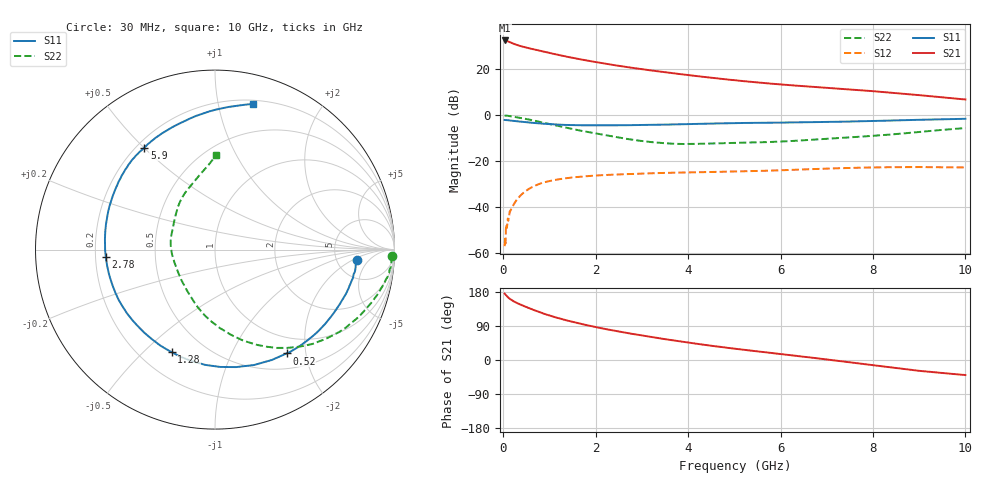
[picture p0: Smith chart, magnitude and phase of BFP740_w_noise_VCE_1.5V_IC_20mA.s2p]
! Infineon Technologies  Discrete & RF Semiconductors
! BFP740
! VCE =  1.5 V,  IC =  20 mA
! Common Emitter S-Parameters:  Jan 2016
# GHz  S  MA  R  50
!  f  S11  S21  S12  S22
! GHz  MAG  ANG  MAG  ANG  MAG  ANG  MAG  ANG
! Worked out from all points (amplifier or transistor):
!   229 points, 30 MHz to 10 GHz, reference 50 ohm
!   highest |S21| = 32.6 dB at 30 MHz (marker M1)
!   |S21| within 3 dB of that: start of sweep to 478.2 MHz
!   unconditionally stable (mu >= 1): 5.925 GHz to end of sweep
!   at 280 MHz: K = 0.22, MSG = 34.0 dB, |S12| = -37.2 dB
!   at 1.78 GHz: K = 0.45, MSG = 25.3 dB, |S12| = -26.6 dB
!   at 10 GHz: K = 1.05, MAG = 13.4 dB, |S12| = -22.7 dB
!   lowest NFmin = 0.68 dB at 450 MHz
!   S11 on the Smith chart (normalised r, x): 30 MHz: 7.89, -2.33; 520 MHz: 0.73, -1.66; 1.28 GHz: 0.33, -0.61; 2.78 GHz: 0.24, -0.03; 5.9 GHz: 0.23, +0.50; 10 GHz: 0.23, +1.27
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0.03  0.7913 -4.0  42.89 175.2  0.0014 78.1  0.9861 -2.1
0.06  0.7898 -7.9  42.66 170.7  0.0041 65.8  0.9848 -5.0
0.11  0.7787 -14.0  40.69 164.6  0.005 88.2  0.9725 -9.2
0.15  0.7706 -18.5  38.98 160.7  0.0081 78.7  0.9568 -12.1
0.2  0.7578 -24.0  37.16 156.6  0.0102 80.0  0.9381 -15.6
0.34  0.7334 -38.2  33.07 148.0  0.0164 71.6  0.8879 -24.4
0.52  0.7027 -55.4  29.64 138.7  0.0236 62.6  0.8221 -34.6
0.7  0.6788 -71.3  26.82 130.1  0.0295 55.6  0.7556 -44.1
0.9  0.6545 -87.4  24.18 121.4  0.0349 49.0  0.6803 -53.6
1.1  0.6348 -101.6  21.77 113.7  0.0387 43.4  0.612 -62.1
1.28  0.6205 -112.9  19.88 107.5  0.0413 38.9  0.5583 -68.9
1.48  0.611 -124.0  18.09 101.2  0.044 35.0  0.5073 -75.8
1.7  0.606 -135.1  16.41 94.9  0.0462 31.4  0.4569 -83.1
2.2  0.6048 -156.3  13.39 82.0  0.0498 24.7  0.3699 -99.1
2.78  0.6095 -176.0  10.89 69.2  0.0525 19.3  0.2952 -117.2
3.4  0.6236 166.9  8.96 56.9  0.0551 14.7  0.2508 -139.4
4.2  0.6496 148.7  7.135 42.6  0.0573 9.9  0.2386 -168.3
5.1  0.6776 134.0  5.692 28.5  0.0598 6.2  0.252 168.3
5.9  0.6919 124.7  4.803 17.2  0.0628 3.5  0.2648 152.2
6.8  0.7121 114.3  4.101 4.4  0.0677 -0.8  0.2968 136.8
8.4  0.7705 92.4  3.113 -19.8  0.0739 -11.8  0.3823 110.4
10  0.8389 75.4  2.213 -39.7  0.0731 -20.8  0.5267 89.5
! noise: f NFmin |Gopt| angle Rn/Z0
0.45  0.68  0.07  3  0.22
0.9  0.68  0.08  19  0.21
1.5  0.71  0.08  38  0.21
1.9  0.73  0.08  49  0.2
2.4  0.76  0.08  60  0.19
3.5  0.86  0.08  134  0.18
5.5  1.03  0.18  -118  0.16
10  1.39  0.51  -67  0.23
